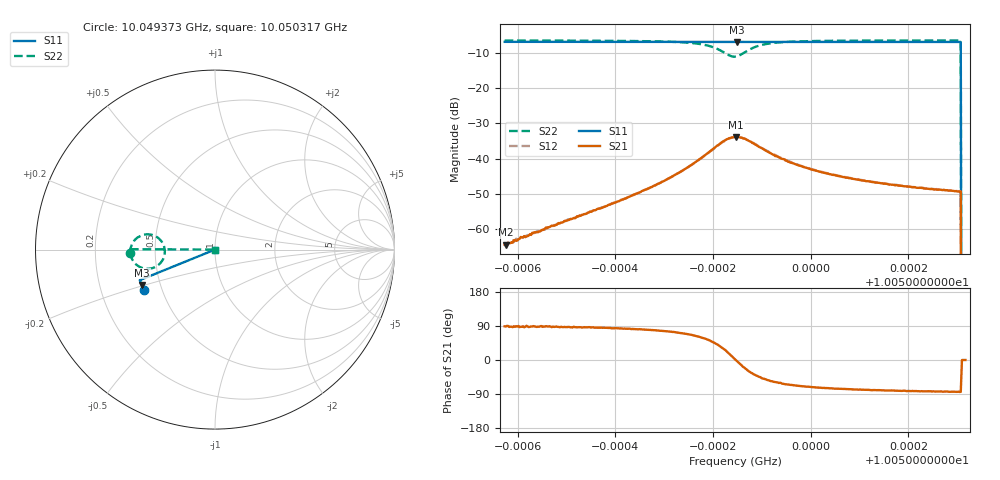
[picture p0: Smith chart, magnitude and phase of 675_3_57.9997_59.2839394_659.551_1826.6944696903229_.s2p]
#  HZ  S  RI  R  50.00
! Rohde & Schwarz Vector Network Analyzer
! Rohde-Schwarz,ZNB20-2Port,1311601062101988,3.16
! Created: UTC 3/21/2024, 1:20:38 AM
! freq[Hz]  re:S11  im:S11  re:S21  im:S21  re:S12  im:S12  re:S22  im:S22
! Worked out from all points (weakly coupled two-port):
!   401 points, 10.049373 GHz to 10.050317 GHz, reference 50 ohm
!   highest |S21| = -33.85 dB at 10.049847 GHz (marker M1); lowest = -64.5 dB at 10.049375 GHz (marker M2)
!   lowest |S11| = -6.9 dB at 10.04985 GHz (marker M3), VSWR 2.64, Z = 19.8 - j9.79 ohm
!   |S11| at or under -10 dB: 10.050307 GHz to end of sweep
!   |S22| runs from - to -6.5 dB; largest |S21 - S12| = 0.0018
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1.00493731e10  -0.3942 -0.2257  1.27e-05 0.0006  -4.01e-05 0.000597  -0.4741 -0.0193
1.00493755e10  -0.3943 -0.2256  1.82e-05 0.000597  -4.8e-05 0.000568  -0.4741 -0.0192
1.00493849e10  -0.3946 -0.2248  2.3e-05 0.000629  -9.02e-07 0.000645  -0.474 -0.0181
1.00495312e10  -0.3991 -0.2162  0.000115 0.00157  8.08e-07 0.00158  -0.4721 0.000307
1.00496185e10  -0.4016 -0.2109  0.000323 0.00266  0.000165 0.00269  -0.468 0.0161
1.00496892e10  -0.4037 -0.2066  0.000955 0.00433  0.000677 0.00439  -0.4596 0.0359
1.00497506e10  -0.4051 -0.2025  0.00292 0.00712  0.00253 0.00726  -0.4363 0.0635
1.00497812e10  -0.4058 -0.2005  0.0059 0.00917  0.00525 0.00941  -0.4056 0.0803
1.00498048e10  -0.4059 -0.1989  0.0105 0.01  0.00971 0.0106  -0.3609 0.084
1.00498284e10  -0.4058 -0.1976  0.0175 0.00704  0.0166 0.00821  -0.2998 0.0482
1.00498449e10  -0.4058 -0.1972  0.0203 0.000644  0.02 0.0023  -0.2796 -0.0135
1.00498473e10  -0.406 -0.1973  0.0203 -0.000354  0.0202 0.00118  -0.2804 -0.0233
1.00498497e10  -0.4057 -0.1973  0.0202 -0.00141  0.0202 0.000291  -0.282 -0.0331
1.00498732e10  -0.407 -0.1967  0.0155 -0.00882  0.0164 -0.00759  -0.3351 -0.0981
1.00499063e10  -0.4084 -0.1951  0.00839 -0.0101  0.00919 -0.00967  -0.4078 -0.1015
1.00499535e10  -0.4103 -0.1921  0.00383 -0.00815  0.00454 -0.00811  -0.4486 -0.0736
1.0050003e10  -0.4119 -0.189  0.00223 -0.00659  0.00265 -0.00654  -0.4632 -0.0519
1.00500691e10  -0.4136 -0.1848  0.00128 -0.00531  0.00159 -0.00524  -0.4703 -0.0332
1.00501611e10  -0.4159 -0.1793  0.000701 -0.0042  0.000976 -0.00418  -0.4738 -0.0161
1.00503026e10  -0.4194 -0.1705  0.00038 -0.00339  0.000554 -0.0034  -0.4754 0.00175
1.00503144e10  0 0  0 0  0 0  0 0
1.00503168e10  0 0  0 0  0 0  0 0
